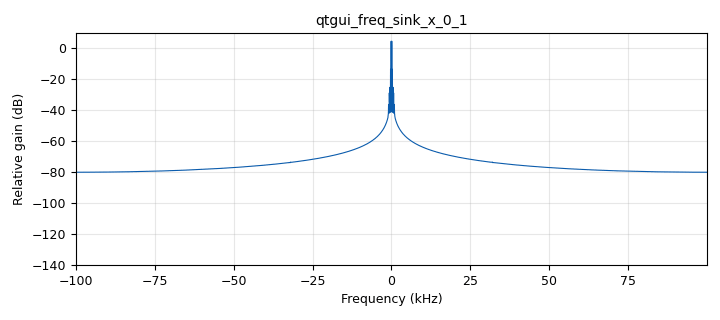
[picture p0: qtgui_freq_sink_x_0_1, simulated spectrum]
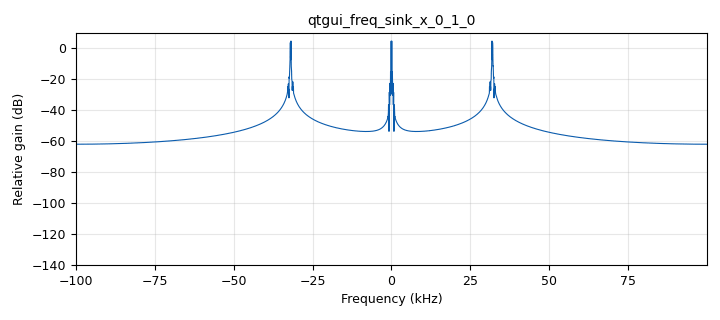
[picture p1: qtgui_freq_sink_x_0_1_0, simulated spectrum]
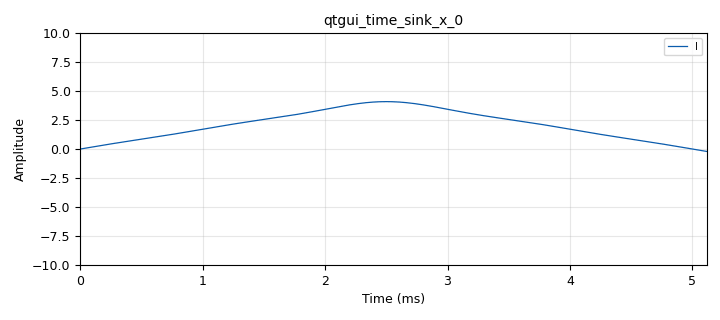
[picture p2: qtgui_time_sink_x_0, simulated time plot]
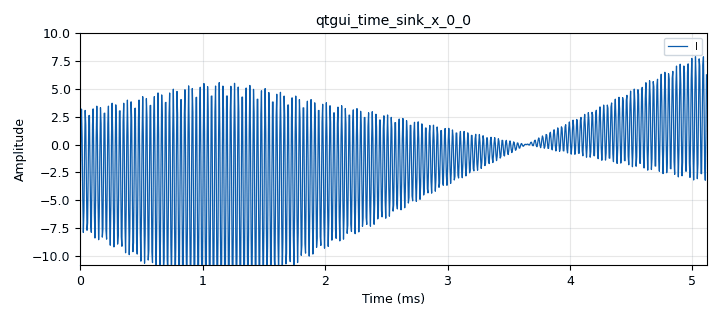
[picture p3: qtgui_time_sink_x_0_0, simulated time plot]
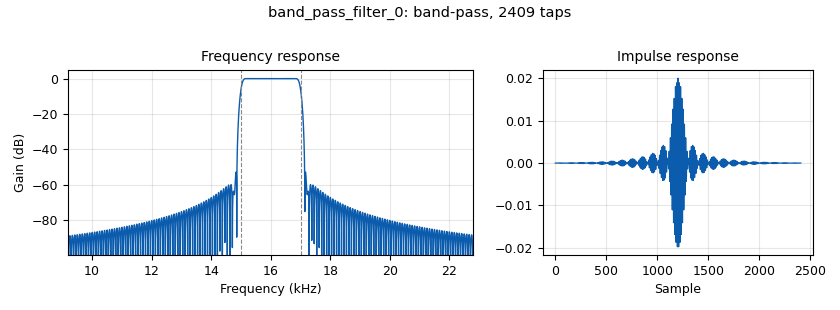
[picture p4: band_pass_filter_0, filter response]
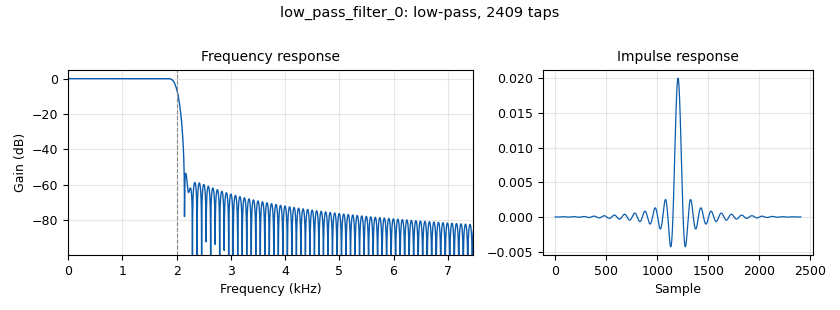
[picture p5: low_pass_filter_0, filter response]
<?xml version='1.0' encoding='utf-8'?>
<?grc format='1' created='3.7.9'?>
<flow_graph>
<block>
<key>options</key>
<param><key>id</key><value>top_block</value></param>
<param><key>category</key><value>Custom</value></param>
<param><key>generate_options</key><value>qt_gui</value></param>
</block>
<block>
<key>variable_qtgui_range</key>
<param><key>id</key><value>Gain</value></param>
<param><key>value</key><value>1</value></param>
<param><key>gui_hint</key><value>aba@0</value></param>
<param><key>orient</key><value>Qt.Horizontal</value></param>
<param><key>start</key><value>1</value></param>
<param><key>step</key><value>0.5</value></param>
<param><key>stop</key><value>10</value></param>
</block>
<block>
<key>variable</key>
<param><key>id</key><value>samp_rate</value></param>
<param><key>value</key><value>200000</value></param>
</block>
<block>
<key>qtgui_number_sink</key>
<param><key>id</key><value>RMS</value></param>
<param><key>autoscale</key><value>True</value></param>
<param><key>gui_hint</key><value>aba@1</value></param>
<param><key>graph_type</key><value>qtgui.NUM_GRAPH_HORIZ</value></param>
<param><key>type</key><value>float</value></param>
<param><key>label1</key><value>RMS</value></param>
<param><key>unit1</key><value>V</value></param>
<param><key>max</key><value>5</value></param>
<param><key>min</key><value>-5</value></param>
</block>
<block>
<key>qtgui_number_sink</key>
<param><key>id</key><value>RMS_0</value></param>
<param><key>gui_hint</key><value>aba@2</value></param>
<param><key>graph_type</key><value>qtgui.NUM_GRAPH_HORIZ</value></param>
<param><key>type</key><value>float</value></param>
<param><key>label1</key><value>A</value></param>
<param><key>unit1</key><value>V</value></param>
<param><key>label2</key><value>B</value></param>
<param><key>unit2</key><value>V</value></param>
<param><key>label3</key><value>C</value></param>
<param><key>unit3</key><value>V</value></param>
<param><key>label4</key><value>D</value></param>
<param><key>unit4</key><value>V</value></param>
<param><key>label5</key><value>E</value></param>
<param><key>unit5</key><value>V</value></param>
<param><key>label6</key><value>F</value></param>
<param><key>unit6</key><value>V</value></param>
<param><key>label7</key><value>G</value></param>
<param><key>unit7</key><value>V</value></param>
<param><key>max</key><value>4</value></param>
<param><key>min</key><value>0</value></param>
<param><key>nconnections</key><value>7</value></param>
</block>
<block>
<key>qtgui_number_sink</key>
<param><key>id</key><value>RMS_1</value></param>
<param><key>autoscale</key><value>True</value></param>
<param><key>gui_hint</key><value>aba@0</value></param>
<param><key>graph_type</key><value>qtgui.NUM_GRAPH_HORIZ</value></param>
<param><key>type</key><value>float</value></param>
<param><key>label1</key><value>RMS</value></param>
<param><key>unit1</key><value>V</value></param>
<param><key>max</key><value>5</value></param>
<param><key>min</key><value>-5</value></param>
</block>
<block>
<key>qtgui_tab_widget</key>
<param><key>id</key><value>aba</value></param>
<param><key>label0</key><value>X</value></param>
<param><key>label1</key><value>I</value></param>
<param><key>label2</key><value>RMS</value></param>
<param><key>num_tabs</key><value>3</value></param>
</block>
<block>
<key>analog_sig_source_x</key>
<param><key>id</key><value>analog_sig_source_x_0</value></param>
<param><key>amp</key><value>2</value></param>
<param><key>freq</key><value>100</value></param>
<param><key>offset</key><value>-1</value></param>
<param><key>type</key><value>float</value></param>
<param><key>samp_rate</key><value>samp_rate</value></param>
<param><key>waveform</key><value>analog.GR_TRI_WAVE</value></param>
</block>
<block>
<key>analog_sig_source_x</key>
<param><key>id</key><value>analog_sig_source_x_1</value></param>
<param><key>amp</key><value>5</value></param>
<param><key>freq</key><value>6000</value></param>
<param><key>offset</key><value>0</value></param>
<param><key>type</key><value>float</value></param>
<param><key>samp_rate</key><value>samp_rate</value></param>
<param><key>waveform</key><value>analog.GR_COS_WAVE</value></param>
</block>
<block>
<key>analog_sig_source_x</key>
<param><key>id</key><value>analog_sig_source_x_1_0</value></param>
<param><key>amp</key><value>2</value></param>
<param><key>freq</key><value>10000</value></param>
<param><key>offset</key><value>0</value></param>
<param><key>type</key><value>float</value></param>
<param><key>samp_rate</key><value>samp_rate</value></param>
<param><key>waveform</key><value>analog.GR_COS_WAVE</value></param>
</block>
<block>
<key>analog_sig_source_x</key>
<param><key>id</key><value>analog_sig_source_x_1_0_0</value></param>
<param><key>amp</key><value>4</value></param>
<param><key>freq</key><value>16000</value></param>
<param><key>offset</key><value>0</value></param>
<param><key>type</key><value>float</value></param>
<param><key>samp_rate</key><value>samp_rate</value></param>
<param><key>waveform</key><value>analog.GR_COS_WAVE</value></param>
</block>
<block>
<key>band_pass_filter</key>
<param><key>id</key><value>band_pass_filter_0</value></param>
<param><key>decim</key><value>1</value></param>
<param><key>type</key><value>fir_filter_fff</value></param>
<param><key>gain</key><value>1</value></param>
<param><key>high_cutoff_freq</key><value>17000</value></param>
<param><key>low_cutoff_freq</key><value>15000</value></param>
<param><key>samp_rate</key><value>samp_rate</value></param>
<param><key>width</key><value>200</value></param>
<param><key>win</key><value>firdes.WIN_HAMMING</value></param>
</block>
<block>
<key>blocks_multiply_xx</key>
<param><key>id</key><value>blocks_multiply_xx_0</value></param>
<param><key>type</key><value>float</value></param>
</block>
<block>
<key>blocks_multiply_xx</key>
<param><key>id</key><value>blocks_multiply_xx_0_0</value></param>
<param><key>type</key><value>float</value></param>
</block>
<block>
<key>blocks_multiply_xx</key>
<param><key>id</key><value>blocks_multiply_xx_0_0_0</value></param>
<param><key>type</key><value>float</value></param>
</block>
<block>
<key>blocks_rms_xx</key>
<param><key>id</key><value>blocks_rms_xx_0_0_3_1_0</value></param>
<param><key>alpha</key><value>0.0001</value></param>
<param><key>type</key><value>float</value></param>
</block>
<block>
<key>blocks_rms_xx</key>
<param><key>id</key><value>blocks_rms_xx_0_0_3_1_0_0</value></param>
<param><key>alpha</key><value>0.0001</value></param>
<param><key>type</key><value>float</value></param>
</block>
<block>
<key>blocks_rms_xx</key>
<param><key>id</key><value>blocks_rms_xx_0_0_3_1_0_0_0</value></param>
<param><key>alpha</key><value>0.0001</value></param>
<param><key>type</key><value>float</value></param>
</block>
<block>
<key>blocks_rms_xx</key>
<param><key>id</key><value>blocks_rms_xx_0_0_3_1_0_0_0_0</value></param>
<param><key>alpha</key><value>0.0001</value></param>
<param><key>type</key><value>float</value></param>
</block>
<block>
<key>blocks_rms_xx</key>
<param><key>id</key><value>blocks_rms_xx_0_0_3_1_0_0_0_0_0</value></param>
<param><key>alpha</key><value>0.0001</value></param>
<param><key>type</key><value>float</value></param>
</block>
<block>
<key>blocks_rms_xx</key>
<param><key>id</key><value>blocks_rms_xx_0_0_3_1_0_0_0_1</value></param>
<param><key>alpha</key><value>0.0001</value></param>
<param><key>type</key><value>float</value></param>
</block>
<block>
<key>blocks_rms_xx</key>
<param><key>id</key><value>blocks_rms_xx_0_0_3_1_0_0_1</value></param>
<param><key>alpha</key><value>0.0001</value></param>
<param><key>type</key><value>float</value></param>
</block>
<block>
<key>blocks_rms_xx</key>
<param><key>id</key><value>blocks_rms_xx_0_0_3_1_0_0_1_0</value></param>
<param><key>alpha</key><value>0.0001</value></param>
<param><key>type</key><value>float</value></param>
</block>
<block>
<key>blocks_rms_xx</key>
<param><key>id</key><value>blocks_rms_xx_0_0_3_1_0_1</value></param>
<param><key>alpha</key><value>0.0001</value></param>
<param><key>type</key><value>float</value></param>
</block>
<block>
<key>low_pass_filter</key>
<param><key>id</key><value>low_pass_filter_0</value></param>
<param><key>cutoff_freq</key><value>2000</value></param>
<param><key>decim</key><value>1</value></param>
<param><key>type</key><value>fir_filter_fff</value></param>
<param><key>gain</key><value>Gain</value></param>
<param><key>samp_rate</key><value>samp_rate</value></param>
<param><key>width</key><value>200</value></param>
<param><key>win</key><value>firdes.WIN_HAMMING</value></param>
</block>
<block>
<key>qtgui_freq_sink_x</key>
<param><key>id</key><value>qtgui_freq_sink_x_0_1</value></param>
<param><key>bw</key><value>samp_rate</value></param>
<param><key>fc</key><value>0</value></param>
<param><key>ctrlpanel</key><value>True</value></param>
<param><key>fftsize</key><value>4096</value></param>
<param><key>gui_hint</key><value>aba@1</value></param>
<param><key>grid</key><value>True</value></param>
<param><key>color1</key><value>"red"</value></param>
<param><key>showports</key><value>True</value></param>
<param><key>type</key><value>float</value></param>
<param><key>wintype</key><value>firdes.WIN_RECTANGULAR</value></param>
</block>
<block>
<key>qtgui_freq_sink_x</key>
<param><key>id</key><value>qtgui_freq_sink_x_0_1_0</value></param>
<param><key>bw</key><value>samp_rate</value></param>
<param><key>fc</key><value>0</value></param>
<param><key>ctrlpanel</key><value>True</value></param>
<param><key>fftsize</key><value>4096</value></param>
<param><key>gui_hint</key><value>aba@0</value></param>
<param><key>grid</key><value>True</value></param>
<param><key>color1</key><value>"red"</value></param>
<param><key>showports</key><value>True</value></param>
<param><key>type</key><value>float</value></param>
<param><key>wintype</key><value>firdes.WIN_RECTANGULAR</value></param>
</block>
<block>
<key>qtgui_time_sink_x</key>
<param><key>id</key><value>qtgui_time_sink_x_0</value></param>
<param><key>ctrlpanel</key><value>True</value></param>
<param><key>gui_hint</key><value>aba@1</value></param>
<param><key>grid</key><value>True</value></param>
<param><key>color1</key><value>"red"</value></param>
<param><key>label1</key><value>I</value></param>
<param><key>size</key><value>1024</value></param>
<param><key>srate</key><value>samp_rate</value></param>
<param><key>tr_mode</key><value>qtgui.TRIG_MODE_AUTO</value></param>
<param><key>type</key><value>float</value></param>
<param><key>ymax</key><value>10</value></param>
<param><key>ymin</key><value>-10</value></param>
</block>
<block>
<key>qtgui_time_sink_x</key>
<param><key>id</key><value>qtgui_time_sink_x_0_0</value></param>
<param><key>ctrlpanel</key><value>True</value></param>
<param><key>gui_hint</key><value>aba@0</value></param>
<param><key>grid</key><value>True</value></param>
<param><key>color1</key><value>"red"</value></param>
<param><key>label1</key><value>I</value></param>
<param><key>size</key><value>1024</value></param>
<param><key>srate</key><value>samp_rate</value></param>
<param><key>tr_mode</key><value>qtgui.TRIG_MODE_AUTO</value></param>
<param><key>type</key><value>float</value></param>
<param><key>ymax</key><value>10</value></param>
<param><key>ymin</key><value>-10</value></param>
</block>
<connection><source_block_id>analog_sig_source_x_0</source_block_id><sink_block_id>blocks_multiply_xx_0</sink_block_id><source_key>0</source_key><sink_key>0</sink_key></connection>
<connection><source_block_id>analog_sig_source_x_0</source_block_id><sink_block_id>blocks_rms_xx_0_0_3_1_0_0</sink_block_id><source_key>0</source_key><sink_key>0</sink_key></connection>
<connection><source_block_id>analog_sig_source_x_1</source_block_id><sink_block_id>blocks_multiply_xx_0</sink_block_id><source_key>0</source_key><sink_key>1</sink_key></connection>
<connection><source_block_id>analog_sig_source_x_1</source_block_id><sink_block_id>blocks_rms_xx_0_0_3_1_0_0_0</sink_block_id><source_key>0</source_key><sink_key>0</sink_key></connection>
<connection><source_block_id>analog_sig_source_x_1_0</source_block_id><sink_block_id>blocks_multiply_xx_0_0</sink_block_id><source_key>0</source_key><sink_key>1</sink_key></connection>
<connection><source_block_id>analog_sig_source_x_1_0</source_block_id><sink_block_id>blocks_rms_xx_0_0_3_1_0_0_0_0</sink_block_id><source_key>0</source_key><sink_key>0</sink_key></connection>
<connection><source_block_id>analog_sig_source_x_1_0_0</source_block_id><sink_block_id>blocks_multiply_xx_0_0_0</sink_block_id><source_key>0</source_key><sink_key>1</sink_key></connection>
<connection><source_block_id>analog_sig_source_x_1_0_0</source_block_id><sink_block_id>blocks_rms_xx_0_0_3_1_0_0_0_0_0</sink_block_id><source_key>0</source_key><sink_key>0</sink_key></connection>
<connection><source_block_id>band_pass_filter_0</source_block_id><sink_block_id>blocks_multiply_xx_0_0_0</sink_block_id><source_key>0</source_key><sink_key>0</sink_key></connection>
<connection><source_block_id>band_pass_filter_0</source_block_id><sink_block_id>blocks_rms_xx_0_0_3_1_0_0_1_0</sink_block_id><source_key>0</source_key><sink_key>0</sink_key></connection>
<connection><source_block_id>blocks_multiply_xx_0</source_block_id><sink_block_id>blocks_multiply_xx_0_0</sink_block_id><source_key>0</source_key><sink_key>0</sink_key></connection>
<connection><source_block_id>blocks_multiply_xx_0</source_block_id><sink_block_id>blocks_rms_xx_0_0_3_1_0_0_1</sink_block_id><source_key>0</source_key><sink_key>0</sink_key></connection>
<connection><source_block_id>blocks_multiply_xx_0_0</source_block_id><sink_block_id>band_pass_filter_0</sink_block_id><source_key>0</source_key><sink_key>0</sink_key></connection>
<connection><source_block_id>blocks_multiply_xx_0_0</source_block_id><sink_block_id>blocks_rms_xx_0_0_3_1_0_0_0_1</sink_block_id><source_key>0</source_key><sink_key>0</sink_key></connection>
<connection><source_block_id>blocks_multiply_xx_0_0_0</source_block_id><sink_block_id>blocks_rms_xx_0_0_3_1_0_1</sink_block_id><source_key>0</source_key><sink_key>0</sink_key></connection>
<connection><source_block_id>blocks_multiply_xx_0_0_0</source_block_id><sink_block_id>low_pass_filter_0</sink_block_id><source_key>0</source_key><sink_key>0</sink_key></connection>
<connection><source_block_id>blocks_multiply_xx_0_0_0</source_block_id><sink_block_id>qtgui_freq_sink_x_0_1_0</sink_block_id><source_key>0</source_key><sink_key>0</sink_key></connection>
<connection><source_block_id>blocks_multiply_xx_0_0_0</source_block_id><sink_block_id>qtgui_time_sink_x_0_0</sink_block_id><source_key>0</source_key><sink_key>0</sink_key></connection>
<connection><source_block_id>blocks_rms_xx_0_0_3_1_0</source_block_id><sink_block_id>RMS</sink_block_id><source_key>0</source_key><sink_key>0</sink_key></connection>
<connection><source_block_id>blocks_rms_xx_0_0_3_1_0_0</source_block_id><sink_block_id>RMS_0</sink_block_id><source_key>0</source_key><sink_key>0</sink_key></connection>
<connection><source_block_id>blocks_rms_xx_0_0_3_1_0_0_0</source_block_id><sink_block_id>RMS_0</sink_block_id><source_key>0</source_key><sink_key>1</sink_key></connection>
<connection><source_block_id>blocks_rms_xx_0_0_3_1_0_0_0_0</source_block_id><sink_block_id>RMS_0</sink_block_id><source_key>0</source_key><sink_key>3</sink_key></connection>
<connection><source_block_id>blocks_rms_xx_0_0_3_1_0_0_0_0_0</source_block_id><sink_block_id>RMS_0</sink_block_id><source_key>0</source_key><sink_key>6</sink_key></connection>
<connection><source_block_id>blocks_rms_xx_0_0_3_1_0_0_0_1</source_block_id><sink_block_id>RMS_0</sink_block_id><source_key>0</source_key><sink_key>4</sink_key></connection>
<connection><source_block_id>blocks_rms_xx_0_0_3_1_0_0_1</source_block_id><sink_block_id>RMS_0</sink_block_id><source_key>0</source_key><sink_key>2</sink_key></connection>
<connection><source_block_id>blocks_rms_xx_0_0_3_1_0_0_1_0</source_block_id><sink_block_id>RMS_0</sink_block_id><source_key>0</source_key><sink_key>5</sink_key></connection>
<connection><source_block_id>blocks_rms_xx_0_0_3_1_0_1</source_block_id><sink_block_id>RMS_1</sink_block_id><source_key>0</source_key><sink_key>0</sink_key></connection>
<connection><source_block_id>low_pass_filter_0</source_block_id><sink_block_id>blocks_rms_xx_0_0_3_1_0</sink_block_id><source_key>0</source_key><sink_key>0</sink_key></connection>
<connection><source_block_id>low_pass_filter_0</source_block_id><sink_block_id>qtgui_freq_sink_x_0_1</sink_block_id><source_key>0</source_key><sink_key>0</sink_key></connection>
<connection><source_block_id>low_pass_filter_0</source_block_id><sink_block_id>qtgui_time_sink_x_0</sink_block_id><source_key>0</source_key><sink_key>0</sink_key></connection>
</flow_graph>
